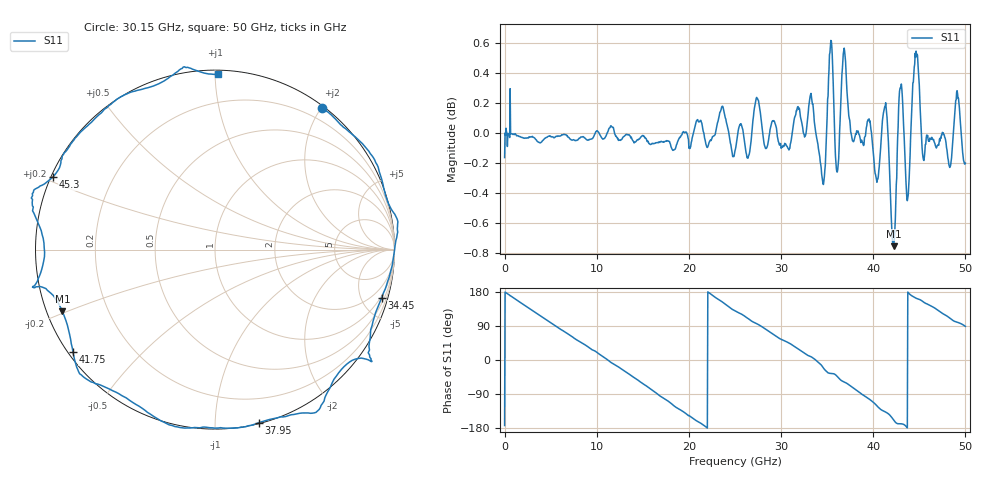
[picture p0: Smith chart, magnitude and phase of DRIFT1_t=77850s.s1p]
!Created with skrf (http://scikit-rf.org).
# Hz S RI R 50.0
!freq ReS11 ImS11
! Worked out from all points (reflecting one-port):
!   1001 points, 300 kHz to 50 GHz, reference 50 ohm
!   lowest |S11| = -0.8 dB at 42.2 GHz (marker M1), VSWR 23.05, Z = 2.25 - j9.72 ohm
!   phase of S11 starts at -173 deg and turns -818 deg over the sweep
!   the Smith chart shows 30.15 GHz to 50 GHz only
!   S11 on the Smith chart (normalised r, x): 30.15 GHz: 0.03, +2.01; 34.45 GHz: 0.86, -6.98; 37.95 GHz: 0.01, -1.28; 41.75 GHz: 0.01, -0.32; 45.3 GHz: 0.01, +0.21; 50 GHz: 0.02, +1.02
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300000  -0.9738 -0.1215
1.450291e9  -0.9126 0.4039
3.25028e9  -0.5931 0.8004
6.250262e9  0.1986 0.9786
9.500243e9  0.8874 0.4516
1.250022e10  0.9302 -0.3523
1.580021e10  0.2423 -0.9612
1.74002e10  -0.2231 -0.9681
1.875019e10  -0.5987 -0.7921
2.165017e10  -0.9912 -0.1218
2.345016e10  -0.93 0.412
2.500015e10  -0.627 0.7615
2.745014e10  -0.0835 1.023
3.015012e10  0.5962 0.7892
3.125011e10  0.7814 0.6282
3.32001e10  1.017 0.1642
3.445009e10  0.9287 -0.2677
3.520009e10  0.8621 -0.5987
3.750008e10  0.3783 -0.9324
3.795007e10  0.2443 -0.9648
3.965006e10  -0.2554 -0.9764
4.175005e10  -0.7916 -0.5698
4.220005e10  -0.8498 -0.3442
4.290004e10  -1.013 -0.2103
4.375004e10  -0.9517 0.0122
4.530003e10  -0.9018 0.4055
4.765001e10  -0.5133 0.8568
5e10  0.0193 0.9769
